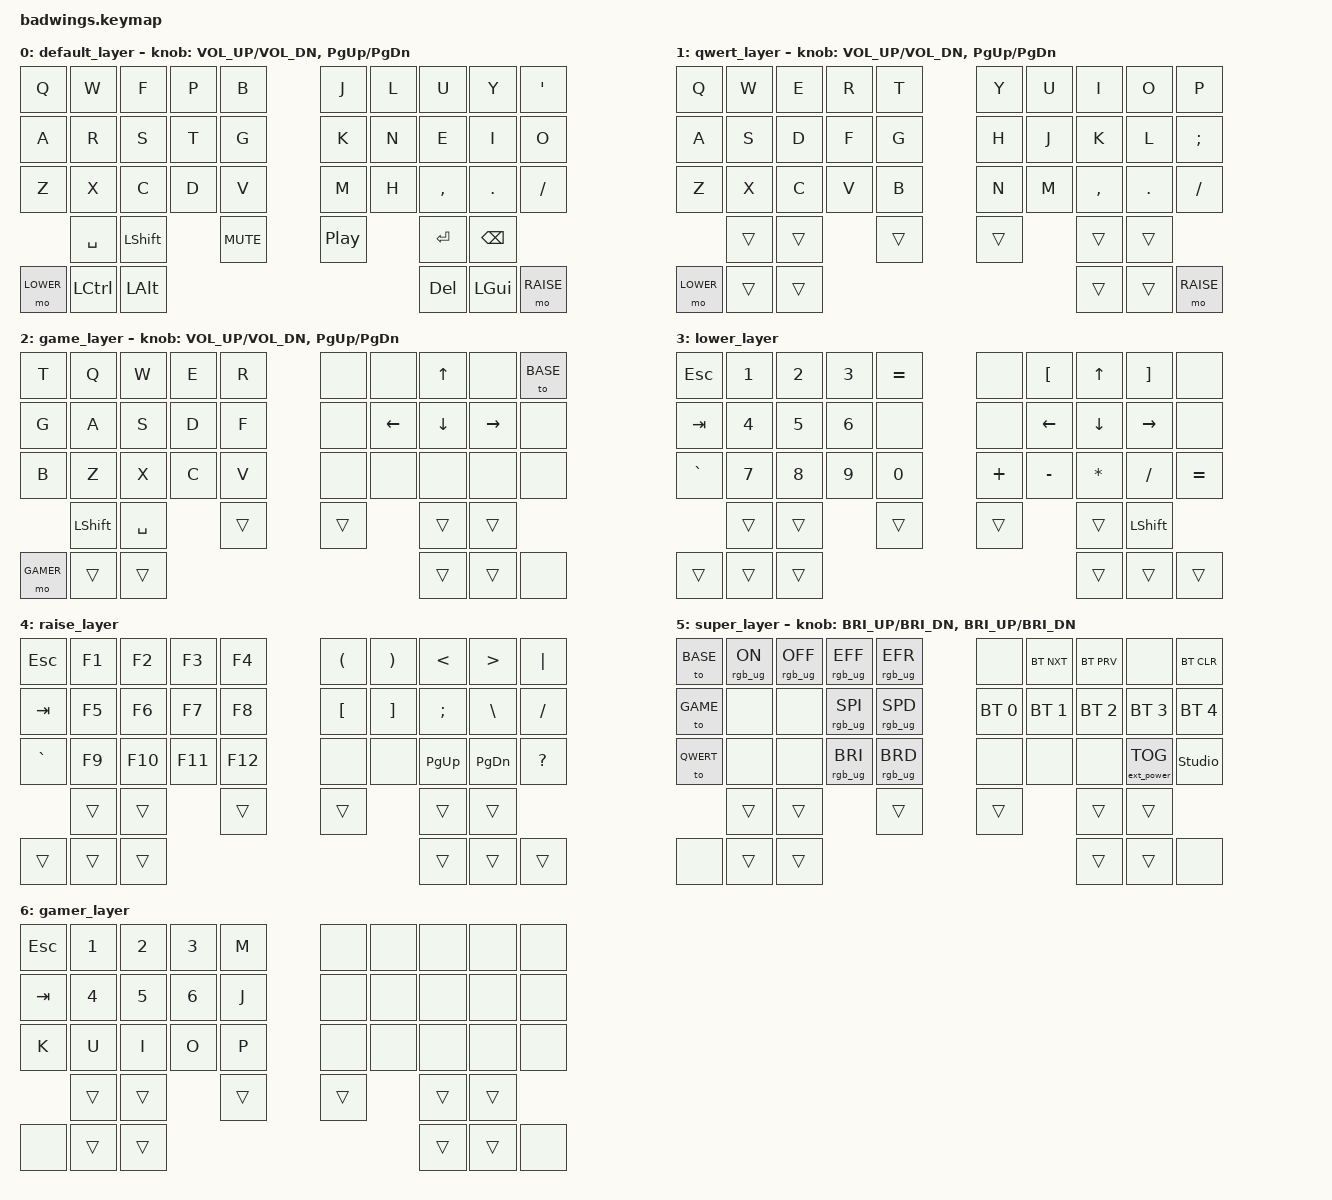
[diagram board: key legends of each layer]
#include <behaviors.dtsi>
#include <dt-bindings/zmk/keys.h>
#include <dt-bindings/zmk/bt.h>
#include <dt-bindings/zmk/rgb.h>
#include <dt-bindings/zmk/outputs.h>
#include <dt-bindings/zmk/ext_power.h>

#define BASE 0
#define QWERT 1
#define GAME 2
#define LOWER 3
#define RAISE 4
#define SUPER 5
#define GAMER 6

&led_strip {
    chain-length = <20>;
};

/ {
    conditional_layers {
        compatible = "zmk,conditional-layers";
        super_layer {
            if-layers = <LOWER RAISE>;
            then-layer = <SUPER>;
        };
    };

    behaviors {
        rgb_encoder: rgb_encoder {
            compatible = "zmk,behavior-sensor-rotate";
            #sensor-binding-cells = <0>;
            bindings = <&rgb_ug RGB_BRI>, <&rgb_ug RGB_BRD>;
        };
    };

    keymap {
        compatible = "zmk,keymap";

        default_layer {
            // ------------------------------------------------------------------------------------
            // |   Q   |   W   |   F   |   P   |   B   |     |  J   |  L   |   U   |  Y   | APOS  |
            // |   A   |   R   |   S   |   T   |   G   |     |  K   |  N   |   E   |  I   |   O   |
            // |   Z   |   X   |   C   |   D   |   V   |     |  M   |  H   | COMMA | DOT  | FSLH  |
            //         | SPACE | LSHFT |       | MUTE  |     | C_PP |      |  RET  | BSPC |
            // | LOWER | LCTRL | LALT  |                                   |  DEL  | LGUI | RAISE |

            bindings = <
                &kp Q      &kp W      &kp F       &kp P    &kp B            &kp J       &kp L    &kp U       &kp Y      &kp APOS
                &kp A      &kp R      &kp S       &kp T    &kp G            &kp K       &kp N    &kp E       &kp I      &kp O
                &kp Z      &kp X      &kp C       &kp D    &kp V            &kp M       &kp H    &kp COMMA   &kp DOT    &kp FSLH
                           &kp SPACE  &kp LSHFT            &kp C_MUTE       &kp C_PP             &kp RET     &kp BSPC
                &mo LOWER  &kp LCTRL  &kp LALT                                                   &kp DEL     &kp LGUI   &mo RAISE
            >;

            sensor-bindings = <&inc_dec_kp C_VOL_UP C_VOL_DN &inc_dec_kp PG_UP PG_DN>;
        };

        qwert_layer {
            // ---------------------------------------------------------------------------------
            // |   Q   |   W   |   E   |  R  |   T   |     |   Y   |  U  |   I   |   O   |   P   |
            // |   A   |   S   |   D   |  F  |   G   |     |   H   |  J  |   K   |   L   |   ;   |
            // |   Z   |   X   |   C   |  V  |   B   |     |   N   |  M  | COMMA |  DOT  | FSLH  |
            //         | trans | trans |     | trans |     | trans |     | trans | trans |
            // | LOWER | trans | trans |                                 | trans | trans | RAISE |

            bindings = <
                &kp Q      &kp W      &kp E      &kp R       &kp T                &kp Y      &kp U    &kp I      &kp O     &kp P
                &kp A      &kp S      &kp D      &kp F       &kp G                &kp H      &kp J    &kp K      &kp L     &kp SEMI
                &kp Z      &kp X      &kp C      &kp V       &kp B                &kp N      &kp M    &kp COMMA  &kp DOT   &kp FSLH
                           &trans     &trans                 &trans               &trans              &trans     &trans
                &mo LOWER  &trans     &trans                                                          &trans     &trans    &mo RAISE
            >;

            sensor-bindings = <&inc_dec_kp C_VOL_UP C_VOL_DN &inc_dec_kp PG_UP PG_DN>;
        };

        game_layer {
            // RIGHT HALF NOT USED
            // ---------------------------------------------------------------------------------
            // |   T   |   Q   |   W   |  E  |   R   |     | none  | none |  UP   | none  | DEF  |
            // |   G   |   A   |   S   |  D  |   F   |     | none  | LEFT | DOWN  | RIGHT | none |
            // |   B   |   Z   |   X   |  C  |   V   |     | none  | none | none  | none  | none |
            //         | LSHFT | SPACE |     | trans |     | trans |      | trans | trans |
            // | GAMER | trans | trans |                                  | trans | trans | none |

            bindings = <
                &kp T      &kp Q      &kp W      &kp E    &kp R         &none    &none     &kp UP     &none      &to BASE
                &kp G      &kp A      &kp S      &kp D    &kp F         &none    &kp LEFT  &kp DOWN   &kp RIGHT  &none
                &kp B      &kp Z      &kp X      &kp C    &kp V         &none    &none     &none      &none      &none
                           &kp LSHFT  &kp SPACE           &trans        &trans             &trans     &trans
                &mo GAMER  &trans     &trans                                               &trans     &trans     &none
            >;

            sensor-bindings = <&inc_dec_kp C_VOL_UP C_VOL_DN &inc_dec_kp PG_UP PG_DN>;
        };

        lower_layer {
            // ---------------------------------------------------------------------------------
            // |  ESC  |  N1   |  N2   |   N3   | none  |    | none  | LBKT |  UP   | RBKT  | none  |
            // |  TAB  |  N4   |  N5   |   N6   | none  |    | none  | LEFT | DOWN  | RIGHT | none  |
            // | GRAVE |  N7   |  N8   |   N9   |  N0   |    | none  | none | none  | none  | none  |
            // |       | trans | trans |        | trans |    | trans |      | trans | LSHFT |
            // | trans | trans | trans |                                    | trans | trans | trans |

            bindings = <
                &kp ESC    &kp N1   &kp N2   &kp N3   &kp EQUAL          &none     &kp LBKT   &kp UP     &kp RBKT   &none
                &kp TAB    &kp N4   &kp N5   &kp N6   &none              &none     &kp LEFT   &kp DOWN   &kp RIGHT  &none
                &kp GRAVE  &kp N7   &kp N8   &kp N9   &kp N0             &kp PLUS  &kp MINUS  &kp STAR   &kp FSLH   &kp EQUAL
                           &trans   &trans            &trans             &trans               &trans     &kp LSHFT
                &trans     &trans   &trans                                                    &trans     &trans     &trans
            >;
        };

        raise_layer {
            // ---------------------------------------------------------------------------------
            // |  ESC  |  F1   |  F2   |  F3   |  F4   |     | LPAR  | RPAR |  LT   |  GT   | PIPE  |
            // |  TAB  |  F5   |  F6   |  F7   |  F8   |     | LBKT  | RBKT | SEMI  | BSLH  | FSLH  |
            // | GRAVE |  F9   |  F10  |  F11  |  F12  |     | none  | none | PG_UP | PG_DN | QMARK |
            // |       | trans | trans |       | trans |     | trans |      | trans | trans |       |
            // | trans | trans | trans |                                    | trans | trans | trans |

            bindings = <
                &kp ESC    &kp F1   &kp F2    &kp F3    &kp F4          &kp LPAR    &kp RPAR    &kp LT     &kp GT     &kp PIPE
                &kp TAB    &kp F5   &kp F6    &kp F7    &kp F8          &kp LBKT    &kp RBKT    &kp SEMI   &kp BSLH   &kp FSLH
                &kp GRAVE  &kp F9   &kp F10   &kp F11   &kp F12         &none       &none       &kp PG_UP  &kp PG_DN  &kp QMARK
                           &trans   &trans               &trans         &trans                  &trans     &trans
                &trans     &trans   &trans                                                      &trans     &trans     &trans
            >;
        };

        super_layer {
            // ---------------------------------------------------------------------------------
            // | DEF   | RGB_ON | RGB_OFF | RGB_EFF | RGB_EFR |     | &BT_DISC | BT_NXT  | BT_PREV |  &none  | BT_CLR  |
            // | GAME  | &none  |  &none  | RGB_SPI | RGB_SPD |     | BT_SEL0  | BT_SEL1 | BT_SEL2 | BT_SEL3 | BT_SEL4 |
            // | QWERT | &none  |  &none  | RGB_BRI | RGB_BRD |     |  &none   |  &none  |  &none  | &EP_ON  | studio_unlock |
            // |       | trans  |  trans  |         |  trans  |     |  trans   |         |  trans  |  trans  |      |
            // | none  | trans  |  trans  |                                              |  trans  |  trans  | none |

            bindings = <
                &to BASE    &rgb_ug RGB_ON  &rgb_ug RGB_OFF  &rgb_ug RGB_EFF  &rgb_ug RGB_EFR          &none          &bt BT_NXT     &bt BT_PRV     &none              &bt BT_CLR
                &to GAME    &none           &none            &rgb_ug RGB_SPI  &rgb_ug RGB_SPD          &bt BT_SEL 0   &bt BT_SEL 1   &bt BT_SEL 2   &bt BT_SEL 3       &bt BT_SEL 4
                &to QWERT   &none           &none            &rgb_ug RGB_BRI  &rgb_ug RGB_BRD          &none          &none          &none          &ext_power EP_TOG  &studio_unlock
                            &trans          &trans                            &trans                   &trans                        &trans         &trans
                &none       &trans          &trans                                                                                   &trans         &trans             &none
            >;

            sensor-bindings = <&inc_dec_kp C_BRI_UP C_BRI_DN &inc_dec_kp C_BRI_UP C_BRI_DN>;
        };

        gamer_layer {
            // RIGHT HALF NOT USED
            // ---------------------------------------------------------------------------------
            // |  ESC  |  N1   |  N2   |  N3  |   M   |     | none  | none | none  | none  | none |
            // |  TAB  |  N4   |  N5   |  N6  |   J   |     | none  | none | none  | none  | none |
            // |   K   |   U   |   I   |  O   |   P   |     | none  | none | none  | none  | none |
            // |       | trans | trans |      | trans |     | trans |      | trans | trans |      |
            // | none  | trans | trans |                                   | trans | trans | none |

            bindings = <
                &kp ESC     &kp N1     &kp N2      &kp N3      &kp M             &none      &none   &none      &none     &none
                &kp TAB     &kp N4     &kp N5      &kp N6      &kp J             &none      &none   &none      &none     &none
                &kp K       &kp U      &kp I       &kp O       &kp P             &none      &none   &none      &none     &none
                            &trans     &trans                  &trans            &trans             &trans     &trans
                &none       &trans     &trans                                                       &trans     &trans    &none
            >;
        };
    };
};
